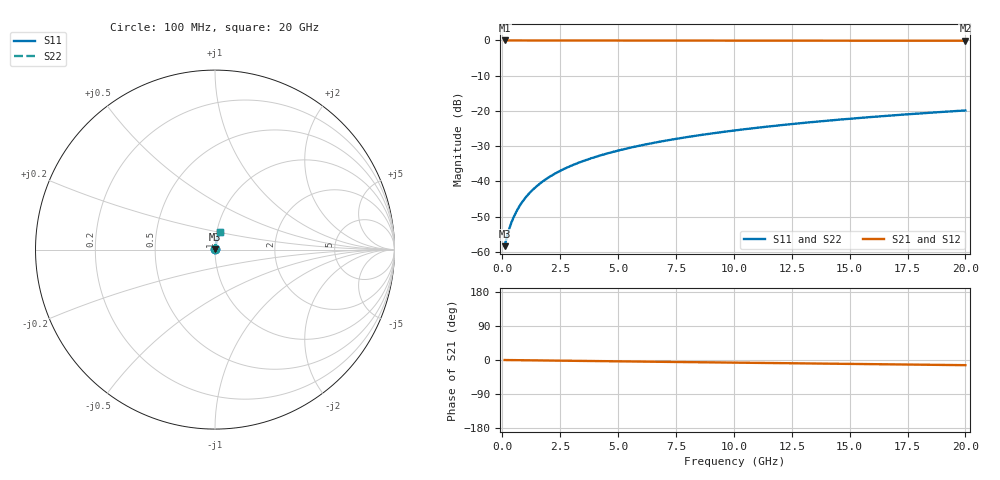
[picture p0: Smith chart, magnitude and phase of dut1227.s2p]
! Touchstone file exported from HFSS 2026.1.0
!  File:  C:/ffzhzh/LocalFiles/Ansys_Project_Files/temp_train_TMRDL_1227_1783163429_51560.aedt
!  Generated:  07:11:34 PM Jul  4, 2026
!  Design:  TMRDL
!  Project:  temp_train_TMRDL_1227_1783163429_51560
! Variables:
!  h_bsmrdl = 2um
!  h_ox = 20um
!  h_rdl = 5um
!  h_sub = 80um
!  h_tmrdl = 5.99um
!  h_tsv = 80um
!  h_via = 3um
!  l_bsmrdl = 300um
!  l_sub = 609.4um
!  l_tmrdl = 209.4um
!  m_sub = 200um
!  pitch = 26.95um
!  r_tsv = 6um
!  s_tmrdl = 10um
!  w_bsmrdl = 18um
!  w_sub = 500um
!  w_tmrdl = 13.49um
!  x_tsv_center1 = 216.145um
!  x_tsv_center2 = 534.145um
!  x_tsv_center3 = 757.035um
!  x_tsv_center4 = 1075.035um
!  x_tsv_center5 = 1297.925um
!  x_tsv_center6 = 1615.925um
# GHz S MA R 50.000000
! Terminal data exported
! Port[1] = TM_RDL1_1_T1
! Port[2] = TM_RDL1_1_T2
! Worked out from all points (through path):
!   200 points, 100 MHz to 20 GHz, reference 50 ohm
!   highest |S21| = -0.01 dB at 100 MHz (marker M1); lowest = -0.1 dB at 20 GHz (marker M2)
!   group delay of S21, straight-line fit = 1.89 ps
!   lowest |S11| = -58.4 dB at 100 MHz (marker M3), VSWR 1.00, Z = 50.1 + j0.064 ohm
!   |S11| at or under -10 dB: start of sweep to end of sweep
!   |S22| runs from -58.4 to -19.9 dB; largest |S21 - S12| = 1e-15
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0.1  0.001208 31.9  0.999 -0.1  0.999 -0.1  0.001208 31.9
! Gamma 0 0 0 0
! Port Impedance 50 0 50 0
0.2  0.001644 48.9  0.9989 -0.1  0.9989 -0.1  0.001644 48.9
0.3  0.002135 58.0  0.9989 -0.2  0.9989 -0.2  0.002135 58.0
0.4  0.002644 63.7  0.9988 -0.3  0.9988 -0.3  0.002644 63.7
0.5  0.003165 67.6  0.9988 -0.4  0.9988 -0.4  0.003165 67.6
0.6  0.003696 70.5  0.9988 -0.4  0.9988 -0.4  0.003696 70.5
0.8  0.004778 74.3  0.9987 -0.6  0.9987 -0.6  0.004778 74.3
1  0.005875 76.6  0.9987 -0.7  0.9987 -0.7  0.005875 76.6
1.2  0.00698 78.1  0.9986 -0.9  0.9986 -0.9  0.00698 78.1
1.4  0.008087 79.1  0.9986 -1.0  0.9986 -1.0  0.008087 79.1
1.7  0.009747 80.1  0.9985 -1.2  0.9985 -1.2  0.009747 80.1
2.2  0.0125 81.0  0.9983 -1.6  0.9983 -1.6  0.0125 81.0
2.8  0.01576 81.3  0.998 -2.0  0.998 -2.0  0.01576 81.3
3.5  0.01952 81.4  0.9977 -2.5  0.9977 -2.5  0.01952 81.4
4.2  0.02321 81.2  0.9974 -3.0  0.9974 -3.0  0.02321 81.2
5  0.02738 81.0  0.997 -3.5  0.997 -3.5  0.02738 81.0
6.8  0.03661 80.3  0.9962 -4.7  0.9962 -4.7  0.03661 80.3
8.3  0.04419 79.6  0.9955 -5.8  0.9955 -5.8  0.04419 79.6
10.1  0.05321 78.7  0.9946 -7.0  0.9946 -7.0  0.05321 78.7
13.4  0.06958 77.0  0.993 -9.2  0.993 -9.2  0.06958 77.0
16.7  0.08572 75.1  0.9912 -11.4  0.9912 -11.4  0.08572 75.1
20  0.1016 73.2  0.9892 -13.7  0.9892 -13.7  0.1016 73.2
